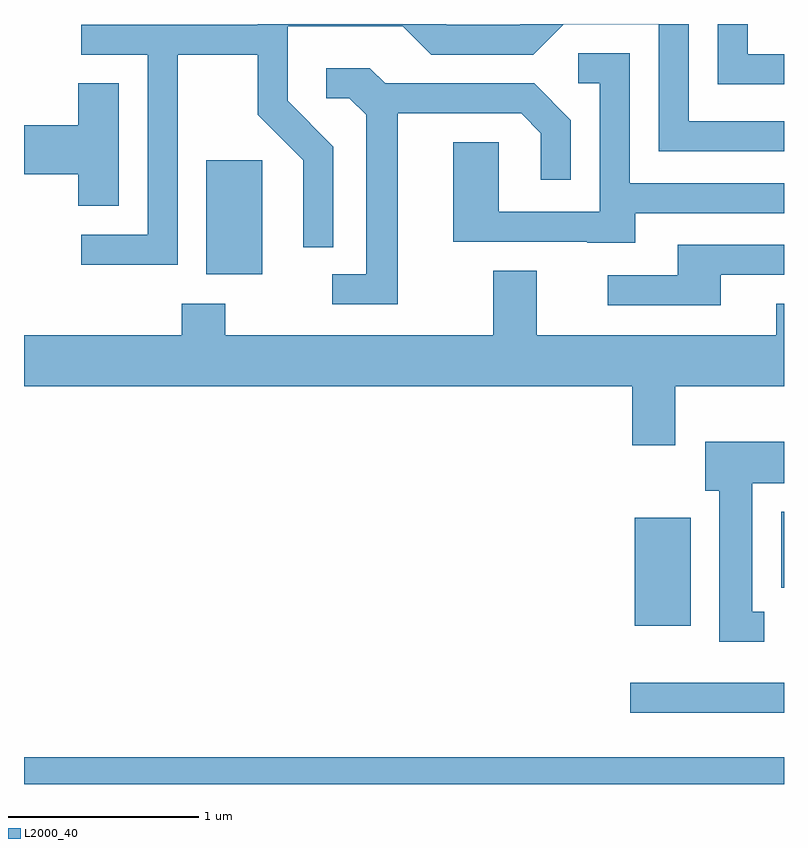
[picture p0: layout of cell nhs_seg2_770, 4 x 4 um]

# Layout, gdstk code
import gdstk
lib = gdstk.Library(unit=1e-6, precision=1e-09)
def R(c, l, rs):  # rectangles x0, y0, x1, y1
    for r in rs: c.add(gdstk.rectangle(r[:2], r[2:], *l))
def P(c, l, *ps):  # polygons
    for p in ps: c.add(gdstk.Polygon(p, *l))
L2000_40 = (2000, 40)

nhs_seg2_770 = lib.new_cell('nhs_seg2_770')
R(nhs_seg2_770, L2000_40, [(207.611,1021.802,211.611,1021.944), (210.803,1022.176,211.611,1022.334), (210.826,1022.636,211.119,1023.204), (211.596,1022.836,211.611,1023.234), (208.571,1024.486,208.864,1025.084)])
P(nhs_seg2_770, L2000_40, [(208.419,1025.641),(208.841,1025.641),(208.841,1025.324),(209.081,1025.084),(209.081,1024.628),(209.239,1024.628),(209.239,1025.157),(208.999,1025.397),(208.999,1025.791),(209.604,1025.791),(209.754,1025.641),(210.292,1025.641),(210.452,1025.801),(210.951,1025.801),(210.951,1025.131),(211.611,1025.131),(211.611,1025.289),(211.109,1025.289),(211.109,1025.802),(210.222,1025.802),(210.219,1025.799),(209.837,1025.799),(209.834,1025.802),(208.841,1025.802),(208.841,1025.799),(207.913,1025.799),(207.913,1025.641),(208.261,1025.641),(208.261,1024.694),(207.913,1024.694),(207.913,1024.536),(208.419,1024.536)],
  [(211.611,1025.644),(211.419,1025.644),(211.419,1025.802),(211.261,1025.802),(211.261,1025.486),(211.611,1025.486)],
  [(210.829,1024.806),(211.611,1024.806),(211.611,1024.964),(210.799,1024.964),(210.799,1025.649),(210.528,1025.649),(210.528,1025.491),(210.641,1025.491),(210.641,1024.814),(210.109,1024.814),(210.109,1025.179),(209.871,1025.179),(209.871,1024.656),(210.575,1024.656),(210.575,1024.651),(210.829,1024.651)],
  [(209.579,1025.331),(210.229,1025.331),(210.331,1025.228),(210.331,1024.983),(210.489,1024.983),(210.489,1025.296),(210.297,1025.489),(209.512,1025.489),(209.432,1025.569),(209.203,1025.569),(209.203,1025.411),(209.324,1025.411),(209.411,1025.324),(209.411,1024.484),(209.233,1024.484),(209.233,1024.326),(209.579,1024.326)],
  [(208.109,1025.489),(207.896,1025.489),(207.896,1025.269),(207.611,1025.269),(207.611,1025.011),(207.896,1025.011),(207.896,1024.846),(208.109,1024.846)],
  [(211.279,1024.481),(211.611,1024.481),(211.611,1024.639),(211.051,1024.639),(211.051,1024.479),(210.683,1024.479),(210.683,1024.321),(211.279,1024.321)],
  [(211.039,1023.896),(211.611,1023.896),(211.611,1024.329),(211.571,1024.329),(211.571,1024.164),(210.309,1024.164),(210.309,1024.504),(210.081,1024.504),(210.081,1024.164),(208.669,1024.164),(208.669,1024.329),(208.441,1024.329),(208.441,1024.164),(207.611,1024.164),(207.611,1023.896),(210.811,1023.896),(210.811,1023.586),(211.039,1023.586)],
  [(211.508,1022.709),(211.444,1022.709),(211.444,1023.386),(211.611,1023.386),(211.611,1023.604),(211.196,1023.604),(211.196,1023.346),(211.271,1023.346),(211.271,1022.551),(211.508,1022.551)])

lib.write_gds('nhs_seg2_770.gds')
